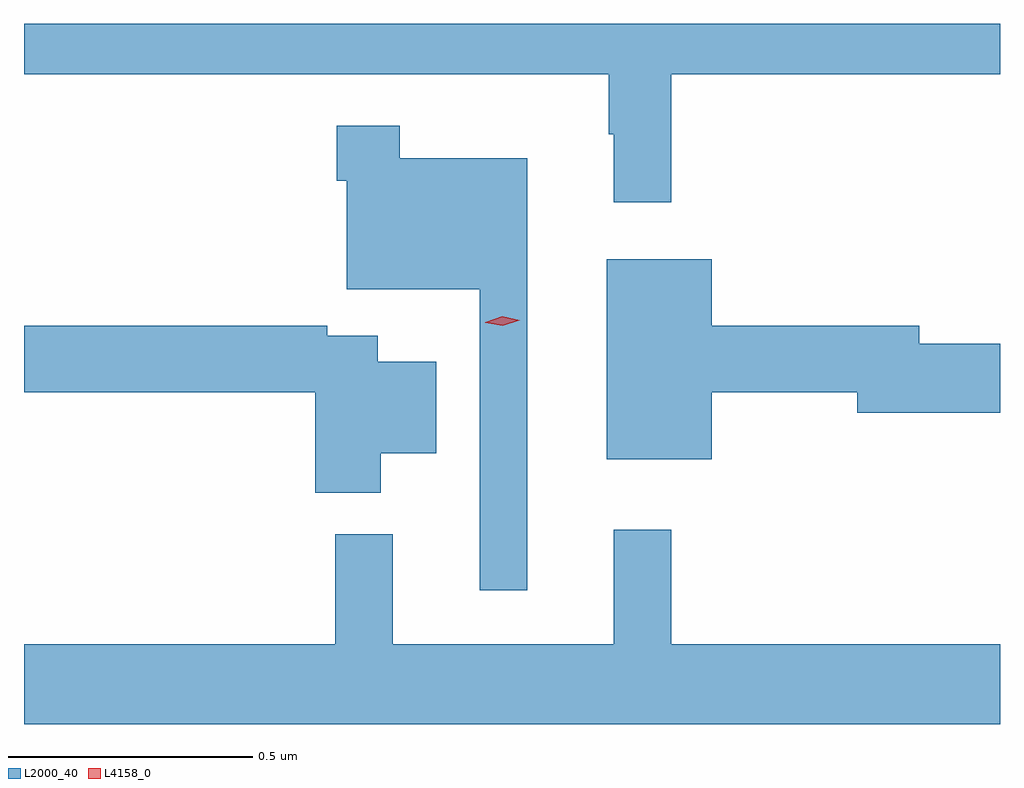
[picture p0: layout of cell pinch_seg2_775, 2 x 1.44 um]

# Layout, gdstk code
import gdstk
lib = gdstk.Library(unit=1e-6, precision=1e-09)
def P(c, l, *ps):  # polygons
    for p in ps: c.add(gdstk.Polygon(p, *l))
L2000_40 = (2000, 40)
L4158_0 = (4158, 0)

pinch_seg2_775 = lib.new_cell('pinch_seg2_775')
P(pinch_seg2_775, L2000_40, [(675.347,642.308),(676.545,642.308),(676.545,642.185),(676.556,642.185),(676.556,642.045),(676.673,642.045),(676.673,642.308),(677.347,642.308),(677.347,642.411),(675.347,642.411)],
  [(676.378,642.136),(676.117,642.136),(676.117,642.202),(675.988,642.202),(675.988,642.089),(676.008,642.089),(676.008,641.867),(676.281,641.867),(676.281,641.25),(676.378,641.25)],
  [(676.756,641.656),(677.054,641.656),(677.054,641.614),(677.347,641.614),(677.347,641.756),(677.182,641.756),(677.182,641.792),(676.756,641.792),(676.756,641.929),(676.541,641.929),(676.541,641.519),(676.756,641.519)],
  [(676.078,641.531),(676.192,641.531),(676.192,641.719),(676.072,641.719),(676.072,641.772),(675.968,641.772),(675.968,641.792),(675.347,641.792),(675.347,641.656),(675.944,641.656),(675.944,641.45),(676.078,641.45)],
  [(677.347,641.14),(676.673,641.14),(676.673,641.374),(676.556,641.374),(676.556,641.14),(676.103,641.14),(676.103,641.365),(675.985,641.365),(675.985,641.14),(675.347,641.14),(675.347,640.976),(677.347,640.976)])
P(pinch_seg2_775, L4158_0, [(676.328,641.792),(676.292,641.799),(676.292,641.8),(676.292,641.8),(676.327,641.812),(676.363,641.804),(676.363,641.804),(676.363,641.804)])

lib.write_gds('pinch_seg2_775.gds')
